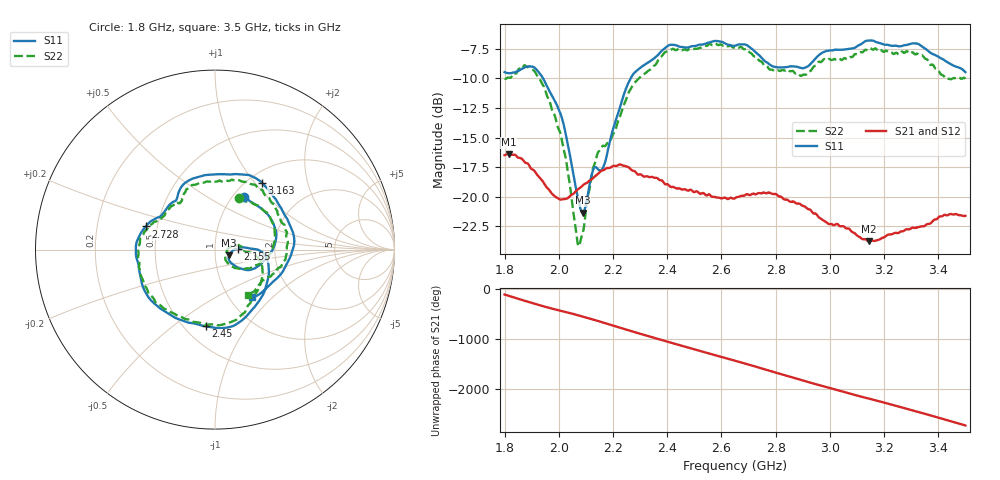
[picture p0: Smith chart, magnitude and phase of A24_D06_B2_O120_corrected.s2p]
! Created with skrf 1.9.0 (http://scikit-rf.org).
# Hz S RI R 50.0
!freq ReS11 ImS11 ReS21 ImS21 ReS12 ImS12 ReS22 ImS22
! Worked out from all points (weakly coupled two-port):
!   1601 points, 1.8 GHz to 3.5 GHz, reference 50 ohm
!   highest |S21| = -16.42 dB at 1.816 GHz (marker M1); lowest = -23.8 dB at 3.143 GHz (marker M2)
!   lowest |S11| = -21.4 dB at 2.089 GHz (marker M3), VSWR 1.19, Z = 58.5 - j3.74 ohm
!   |S11| at or under -10 dB: 1.942 GHz to 2.265 GHz (322.4 MHz wide, 15.3 % of centre)
!   |S22| runs from -24.2 to -7.0 dB; largest |S21 - S12| = 0.0025
!   S11 on the Smith chart (normalised r, x): 1.8 GHz: 1.12, +0.75; 2.155 GHz: 1.30, +0.01; 2.45 GHz: 0.63, -0.66; 2.728 GHz: 0.43, +0.13; 3.163 GHz: 1.15, +1.09; 3.5 GHz: 1.27, -0.76
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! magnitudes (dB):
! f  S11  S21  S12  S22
! 1.8 GHz  -9.5  -16.5  -16.5  -10.0
! 1.816 GHz  -9.6  -16.4  -16.4  -9.9
! 1.88 GHz  -9.0  -17.2  -17.2  -9.0
! 1.942 GHz  -10.0  -18.8  -18.8  -10.6
! 2.013 GHz  -13.4  -20.2  -20.2  -15.4
! 2.068 GHz  -19.8  -19.4  -19.4  -23.7
! 2.084 GHz  -21.3  -19.2  -19.1  -23.4
! 2.089 GHz  -21.4  -19.0  -19.1  -23.0
! 2.127 GHz  -17.7  -18.4  -18.4  -17.5
! 2.155 GHz  -17.8  -17.8  -17.9  -15.9
! 2.261 GHz  -10.2  -17.6  -17.6  -11.0
! 2.367 GHz  -8.0  -18.5  -18.5  -8.4
! 2.45 GHz  -7.3  -19.4  -19.4  -7.6
! 2.65 GHz  -7.2  -20.1  -20.1  -7.3
! 2.728 GHz  -7.8  -19.8  -19.8  -8.2
! 2.8 GHz  -9.0  -19.8  -19.8  -9.4
! 2.934 GHz  -8.7  -21.3  -21.3  -9.2
! 3.143 GHz  -6.8  -23.8  -23.7  -7.5
! 3.163 GHz  -6.8  -23.8  -23.7  -7.5
! 3.217 GHz  -7.2  -23.2  -23.2  -7.8
! 3.324 GHz  -7.1  -22.6  -22.6  -7.9
! 3.5 GHz  -9.5  -21.6  -21.6  -10.0
